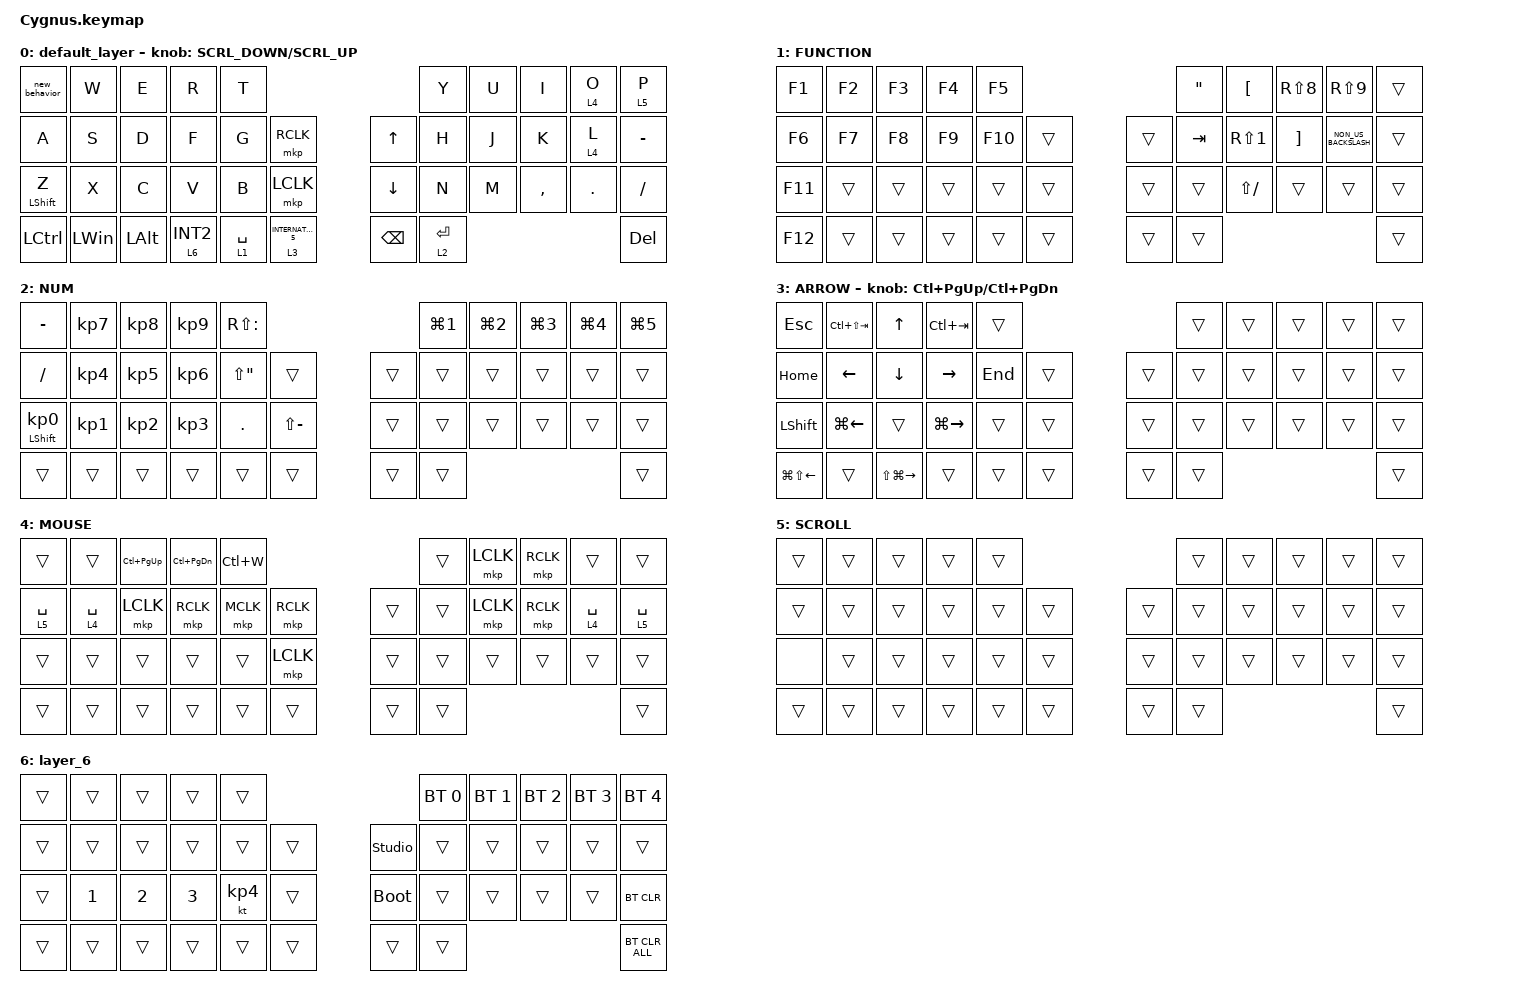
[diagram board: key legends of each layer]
#define ZMK_POINTING_DEFAULT_SCRL_VAL 120    // default: 10

#include <behaviors.dtsi>
#include <dt-bindings/zmk/bt.h>
#include <dt-bindings/zmk/keys.h>
#include <dt-bindings/zmk/pointing.h>

#define MOUSE 4
#define SCROLL 5
#define NUM 6

&mt {
    flavor = "balanced";
    quick-tap-ms = <0>;
};

/ {
    combos {
        compatible = "zmk,combos";

        leftclick {
            bindings = <&mkp MB1>;
            key-positions = <6 7>;
        };

        rightclick {
            bindings = <&mkp MB2>;
            key-positions = <7 8>;
        };

        tab {
            bindings = <&kp TAB>;
            key-positions = <11 12>;
        };
    };

    macros {
        to_layer_0: to_layer_0 {
            compatible = "zmk,behavior-macro-one-param";
            #binding-cells = <1>;
            bindings = <&to 0 &macro_param_1to1 &kp MACRO_PLACEHOLDER>;
            label = "TO_LAYER_0";
        };
    };

    behaviors {
        lt_to_layer_0: lt_to_layer_0 {
            compatible = "zmk,behavior-hold-tap";
            label = "LAYER_TAP_TO_0";
            bindings = <&mo>, <&to_layer_0>;

            #binding-cells = <2>;
            tapping-term-ms = <200>;
        };

        ROTATE: ROTATE {
            compatible = "zmk,behavior-sensor-rotate-var";
            label = "ROTATE";
            #sensor-binding-cells = <2>;
            bindings = <&msc>, <&msc>;

            tap-ms = <20>;
        };

        new_behavior: new_behavior {
            compatible = "zmk,behavior-tap-dance";
            label = "NEW_BEHAVIOR";
            #binding-cells = <0>;
            bindings = <&kp Q>, <&kp ESC>;
        };
    };

    keymap {
        compatible = "zmk,keymap";

        default_layer {
            bindings = <
&new_behavior     &kp W         &kp E         &kp R       &kp T                                                   &kp Y        &kp U  &kp I      &lt 4 O  &lt 5 P
&kp A             &kp S         &kp D         &kp F       &kp G        &mkp RCLK                  &kp UP_ARROW    &kp H        &kp J  &kp K      &lt 4 L  &kp MINUS
&mt LEFT_SHIFT Z  &kp X         &kp C         &kp V       &kp B        &mkp LCLK                  &kp DOWN_ARROW  &kp N        &kp M  &kp COMMA  &kp DOT  &kp SLASH
&kp LCTRL         &kp LEFT_WIN  &kp LEFT_ALT  &lt 6 INT2  &lt 1 SPACE  &lt 3 INTERNATIONAL_5      &kp BACKSPACE   &lt 2 ENTER                             &kp DEL
            >;

            sensor-bindings = <&ROTATE SCRL_DOWN SCRL_UP>;
        };

        FUNCTION {
            bindings = <
&kp F1   &kp F2  &kp F3  &kp F4  &kp F5                       &kp DOUBLE_QUOTES  &kp LEFT_BRACKET  &kp RS(N8)         &kp RS(N9)            &trans
&kp F6   &kp F7  &kp F8  &kp F9  &kp F10  &trans      &trans  &kp TAB            &kp RS(NUMBER_1)  &kp RIGHT_BRACKET  &kp NON_US_BACKSLASH  &trans
&kp F11  &trans  &trans  &trans  &trans   &trans      &trans  &trans             &kp LS(SLASH)     &trans             &trans                &trans
&kp F12  &trans  &trans  &trans  &trans   &trans      &trans  &trans                                                                        &trans
            >;
        };

        NUM {
            bindings = <
&kp MINUS                   &kp KP_NUMBER_7  &kp KP_NUMBER_8  &kp KP_NUMBER_9  &kp RS(COLON)                                     &kp LG(NUMBER_1)  &kp LG(NUMBER_2)  &kp LG(NUMBER_3)  &kp LG(NUMBER_4)  &kp LG(N5)
&kp SLASH                   &kp KP_NUMBER_4  &kp KP_NUMBER_5  &kp KP_NUMBER_6  &kp LS(DOUBLE_QUOTES)  &trans             &trans  &trans            &trans            &trans            &trans            &trans
&mt LEFT_SHIFT KP_NUMBER_0  &kp KP_NUMBER_1  &kp KP_NUMBER_2  &kp KP_NUMBER_3  &kp PERIOD             &kp LS(MINUS)      &trans  &trans            &trans            &trans            &trans            &trans
&trans                      &trans           &trans           &trans           &trans                 &trans             &trans  &trans                                                                  &trans
            >;
        };

        ARROW {
            bindings = <
&kp ESCAPE        &kp LC(LS(TAB))     &kp UP_ARROW       &kp LC(TAB)          &trans                       &trans  &trans  &trans  &trans  &trans
&kp HOME          &kp LEFT_ARROW      &kp DOWN_ARROW     &kp RIGHT_ARROW      &kp END  &trans      &trans  &trans  &trans  &trans  &trans  &trans
&kp LEFT_SHIFT    &kp LG(LEFT_ARROW)  &trans             &kp LG(RIGHT_ARROW)  &trans   &trans      &trans  &trans  &trans  &trans  &trans  &trans
&kp LG(LS(LEFT))  &trans              &kp LS(LG(RIGHT))  &trans               &trans   &trans      &trans  &trans                          &trans
            >;

            sensor-bindings = <&inc_dec_kp LC(PAGE_UP) LC(PAGE_DOWN)>;
        };

        MOUSE {
            bindings = <
&trans       &trans       &kp LC(PAGE_UP)  &kp LC(PAGE_DOWN)  &kp LC(W)                         &trans  &mkp LCLK  &mkp RCLK  &trans       &trans
&lt 5 SPACE  &lt 4 SPACE  &mkp LCLK        &mkp RCLK          &mkp MCLK  &mkp RCLK      &trans  &trans  &mkp LCLK  &mkp RCLK  &lt 4 SPACE  &lt 5 SPACE
&trans       &trans       &trans           &trans             &trans     &mkp LCLK      &trans  &trans  &trans     &trans     &trans       &trans
&trans       &trans       &trans           &trans             &trans     &trans         &trans  &trans                                     &trans
            >;
        };

        SCROLL {
            bindings = <
&trans  &trans  &trans  &trans  &trans                      &trans  &trans  &trans  &trans  &trans
&trans  &trans  &trans  &trans  &trans  &trans      &trans  &trans  &trans  &trans  &trans  &trans
&none   &trans  &trans  &trans  &trans  &trans      &trans  &trans  &trans  &trans  &trans  &trans
&trans  &trans  &trans  &trans  &trans  &trans      &trans  &trans                          &trans
            >;
        };

        layer_6 {
            bindings = <
&trans  &trans        &trans        &trans        &trans                                 &bt BT_SEL 0  &bt BT_SEL 1  &bt BT_SEL 2  &bt BT_SEL 3  &bt BT_SEL 4
&trans  &trans        &trans        &trans        &trans     &trans      &studio_unlock  &trans        &trans        &trans        &trans        &trans
&trans  &kp NUMBER_1  &kp NUMBER_2  &kp NUMBER_3  &kt KP_N4  &trans      &bootloader     &trans        &trans        &trans        &trans        &bt BT_CLR
&trans  &trans        &trans        &trans        &trans     &trans      &trans          &trans                                                  &bt BT_CLR_ALL
            >;
        };
    };
};
